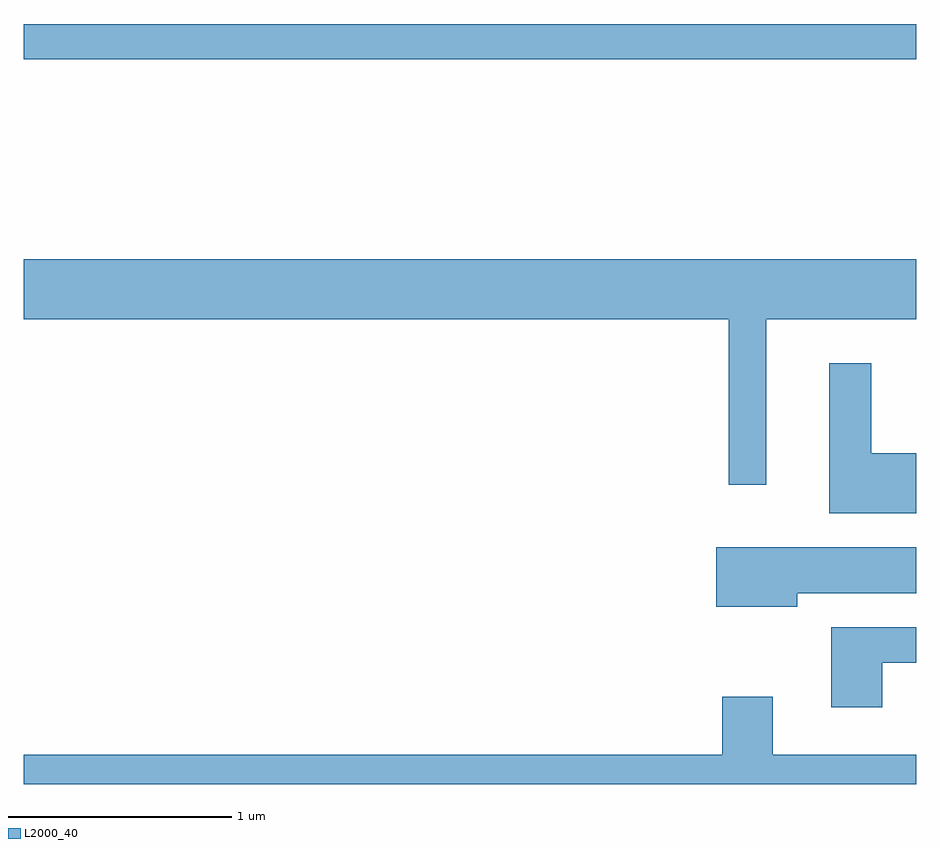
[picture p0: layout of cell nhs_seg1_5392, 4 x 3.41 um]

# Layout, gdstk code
import gdstk
lib = gdstk.Library(unit=1e-6, precision=1e-09)
def R(c, l, rs):  # rectangles x0, y0, x1, y1
    for r in rs: c.add(gdstk.rectangle(r[:2], r[2:], *l))
def P(c, l, *ps):  # polygons
    for p in ps: c.add(gdstk.Polygon(p, *l))
L2000_40 = (2000, 40)

nhs_seg1_5392 = lib.new_cell('nhs_seg1_5392')
R(nhs_seg1_5392, L2000_40, [(347.611,902.961,351.611,903.119)])
P(nhs_seg1_5392, L2000_40, [(350.939,901.796),(351.611,901.796),(351.611,902.064),(347.611,902.064),(347.611,901.796),(350.771,901.796),(350.771,901.053),(350.939,901.053)],
  [(351.611,901.194),(351.409,901.194),(351.409,901.599),(351.221,901.599),(351.221,900.926),(351.611,900.926)],
  [(351.079,900.566),(351.611,900.566),(351.611,900.774),(350.716,900.774),(350.716,900.506),(351.079,900.506)],
  [(351.459,900.256),(351.611,900.256),(351.611,900.414),(351.231,900.414),(351.231,900.056),(351.459,900.056)],
  [(351.611,899.844),(350.969,899.844),(350.969,900.104),(350.741,900.104),(350.741,899.844),(347.611,899.844),(347.611,899.712),(351.611,899.712)])

lib.write_gds('nhs_seg1_5392.gds')
